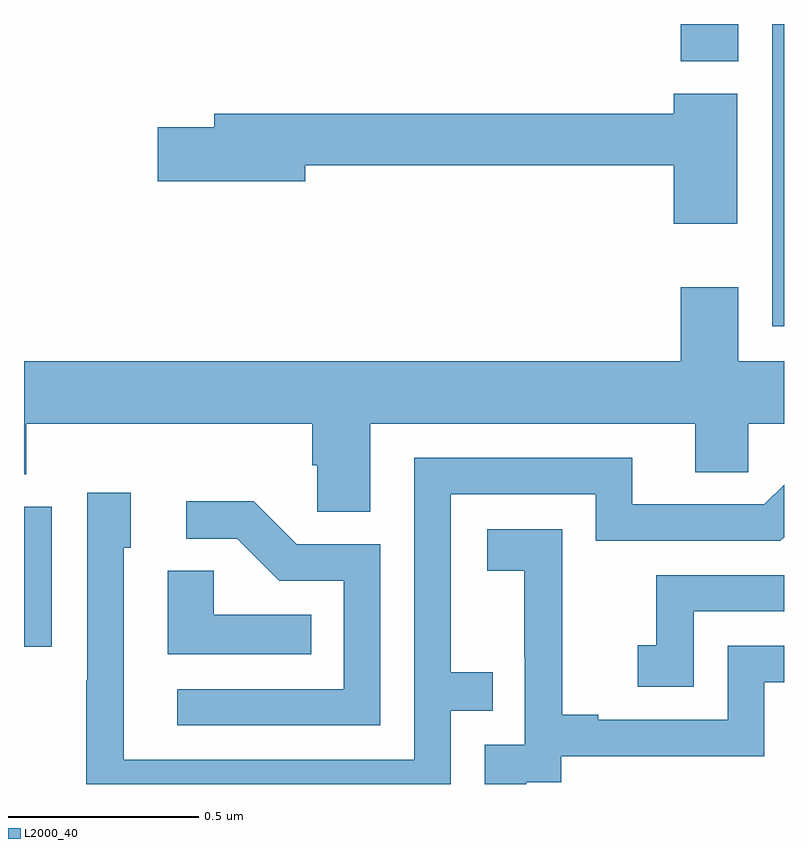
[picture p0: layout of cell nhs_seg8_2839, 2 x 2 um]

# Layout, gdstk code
import gdstk
lib = gdstk.Library(unit=1e-6, precision=1e-09)
def R(c, l, rs):  # rectangles x0, y0, x1, y1
    for r in rs: c.add(gdstk.rectangle(r[:2], r[2:], *l))
def P(c, l, *ps):  # polygons
    for p in ps: c.add(gdstk.Polygon(p, *l))
L2000_40 = (2000, 40)

nhs_seg8_2839 = lib.new_cell('nhs_seg8_2839')
R(nhs_seg8_2839, L2000_40, [(149,1101.261,149.073,1101.63), (150.969,1102.104,151,1102.9), (150.728,1102.802,150.88,1102.9)])
P(nhs_seg8_2839, L2000_40, [(150.877,1102.717),(150.71,1102.717),(150.71,1102.664),(149.501,1102.664),(149.501,1102.628),(149.352,1102.628),(149.352,1102.486),(149.74,1102.486),(149.74,1102.528),(150.71,1102.528),(150.71,1102.374),(150.877,1102.374)],
  [(149.911,1101.848),(150.767,1101.848),(150.767,1101.721),(150.906,1101.721),(150.906,1101.848),(151,1101.848),(151,1102.012),(150.88,1102.012),(150.88,1102.207),(150.728,1102.207),(150.728,1102.012),(149,1102.012),(149,1101.715),(149.006,1101.715),(149.006,1101.848),(149.759,1101.848),(149.759,1101.739),(149.772,1101.739),(149.772,1101.616),(149.911,1101.616)],
  [(150.123,1101.093),(150.233,1101.093),(150.233,1101.194),(150.123,1101.194),(150.123,1101.663),(150.504,1101.663),(150.504,1101.54),(150.99,1101.54),(151,1101.55),(151,1101.688),(150.948,1101.636),(150.601,1101.636),(150.601,1101.759),(150.027,1101.759),(150.027,1100.964),(149.262,1100.964),(149.262,1101.522),(149.281,1101.522),(149.281,1101.667),(149.166,1101.667),(149.166,1101.173),(149.164,1101.173),(149.164,1100.9),(150.123,1100.9)],
  [(149.937,1101.531),(149.718,1101.531),(149.605,1101.644),(149.427,1101.644),(149.427,1101.546),(149.561,1101.546),(149.672,1101.435),(149.841,1101.435),(149.841,1101.15),(149.403,1101.15),(149.403,1101.054),(149.937,1101.054)],
  [(150.322,1100.905),(150.414,1100.905),(150.414,1100.973),(150.948,1100.973),(150.948,1101.168),(151,1101.168),(151,1101.264),(150.852,1101.264),(150.852,1101.069),(150.511,1101.069),(150.511,1101.082),(150.416,1101.082),(150.416,1101.365),(150.417,1101.365),(150.417,1101.571),(150.219,1101.571),(150.219,1101.461),(150.317,1101.461),(150.317,1101.233),(150.318,1101.233),(150.318,1101.003),(150.213,1101.003),(150.213,1100.9),(150.322,1100.9)],
  [(149.756,1101.346),(149.499,1101.346),(149.499,1101.461),(149.378,1101.461),(149.378,1101.242),(149.756,1101.242)],
  [(150.762,1101.354),(151,1101.354),(151,1101.45),(150.664,1101.45),(150.664,1101.265),(150.615,1101.265),(150.615,1101.156),(150.762,1101.156)])

lib.write_gds('nhs_seg8_2839.gds')
